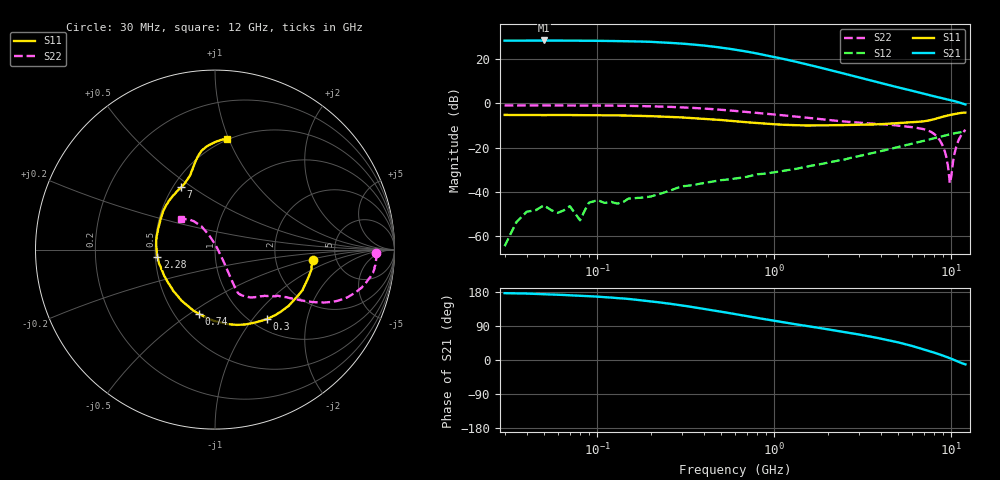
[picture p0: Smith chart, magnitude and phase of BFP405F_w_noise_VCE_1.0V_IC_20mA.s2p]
! Infineon Technologies  Discrete & RF Semiconductors
! BFP405F
! VCE =  1.0 V,  IC =  20 mA
! Common Emitter S-Parameters:  Nov 2015
# GHz  S  MA  R  50
!  f  S11  S21  S12  S22
! GHz  MAG  ANG  MAG  ANG  MAG  ANG  MAG  ANG
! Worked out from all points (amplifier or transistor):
!   239 points, 30 MHz to 12 GHz, reference 50 ohm
!   highest |S21| = 28.4 dB at 50 MHz (marker M1)
!   |S21| within 3 dB of that: start of sweep to 475.5 MHz
!   unconditionally stable (mu >= 1): start of sweep to 36.29 MHz; 1.028 GHz to end of sweep
!   at 300 MHz: K = 0.47, MSG = 32.2 dB, |S12| = -37.5 dB
!   at 1.88 GHz: K = 1.34, MAG = 18.0 dB, |S12| = -27.2 dB
!   at 12 GHz: K = 1.54, MAG = 1.8 dB, |S12| = -12.6 dB
!   lowest NFmin = 2.24 dB at 450 MHz
!   S11 on the Smith chart (normalised r, x): 30 MHz: 3.33, -0.57; 300 MHz: 1.17, -1.18; 740 MHz: 0.66, -0.55; 2.28 GHz: 0.51, -0.04; 7 GHz: 0.55, +0.45; 12 GHz: 0.49, +0.99
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0.03  0.5494 -6.2  26.11 176.4  0.0006 72.2  0.8976 -1.1
0.035  0.5498 -6.9  26.14 175.8  0.0021 90.0  0.9005 -1.4
0.05  0.5451 -10.0  26.36 173.5  0.005 144.1  0.9018 -2.2
0.08  0.5447 -15.1  25.96 169.4  0.0023 106.7  0.8984 -4.6
0.085  0.5432 -16.1  25.98 168.9  0.0038 73.4  0.8981 -5.0
0.145  0.5312 -27.9  25.39 161.8  0.0065 72.5  0.8839 -9.1
0.195  0.517 -36.6  24.62 155.3  0.0078 82.6  0.8632 -12.1
0.24  0.503 -43.9  23.65 150.3  0.0098 72.8  0.8443 -14.5
0.3  0.483 -53.4  22.44 143.9  0.0134 72.2  0.8136 -17.3
0.44  0.4394 -72.5  19.39 131.7  0.017 66.4  0.7474 -22.2
0.6  0.3969 -91.1  16.34 120.9  0.0201 63.0  0.6773 -25.8
0.74  0.3689 -103.7  14.2 113.8  0.0233 61.8  0.6308 -27.7
0.9  0.348 -116.4  12.21 106.9  0.0262 61.0  0.5866 -29.4
1.1  0.3307 -129.4  10.29 100.3  0.0296 61.8  0.5418 -31.1
1.64  0.3177 -154.3  7.111 87.4  0.0397 62.4  0.4632 -34.5
2.28  0.3239 -173.1  5.118 76.7  0.0511 62.7  0.4023 -39.8
4.5  0.3496 149.4  2.558 51.5  0.0934 56.7  0.3304 -53.8
7  0.3949 118.4  1.654 27.8  0.1428 45.5  0.2617 -62.0
8.8  0.4919 103.4  1.32 12.9  0.1801 36.0  0.1257 -58.4
9.8  0.5471 98.5  1.192 4.9  0.2001 30.2  0.0159 -0.1
10.6  0.5827 93.4  1.104 -1.7  0.2147 25.0  0.0977 114.4
12  0.6205 83.7  0.949 -11.4  0.2334 17.9  0.2541 137.3
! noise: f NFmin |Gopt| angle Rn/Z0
0.45  2.24  0.02  -18  0.47
0.9  2.25  0.01  -90  0.3
1.5  2.31  0.03  -114  0.38
1.9  2.38  0.04  -120  0.52
2.4  2.53  0.05  -120  0.18
3  2.62  0.07  -120  0.16
3.5  2.7  0.09  -118  0.22
4.5  2.94  0.14  -105  0.5
5.5  3.27  0.24  -88  0.52
